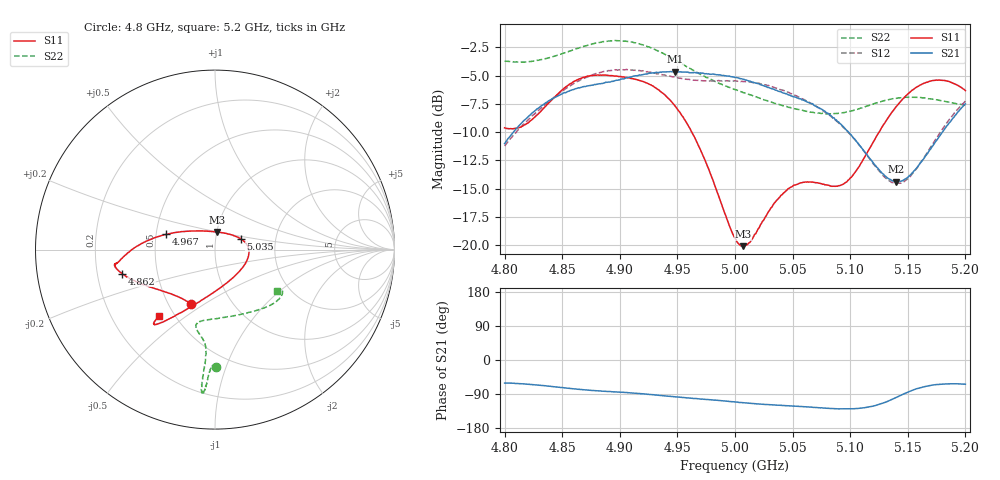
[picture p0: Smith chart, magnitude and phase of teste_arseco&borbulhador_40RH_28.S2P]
! Network Analyzer HP8722D
! Hewlett-Packard
! Data name: Linha & Wilkinson
! Saver's name: Rodrigo Anjos
! Comments: Teste da utilização de aquisição
! continua pelo VNA HP8722D
! Time and date: 15/4/2025 16:35
!  Frequency  S11  S21  S12  S22
# HZ  S  MA R 50
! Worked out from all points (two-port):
!   401 points, 4.8 GHz to 5.2 GHz, reference 50 ohm
!   highest |S21| = -4.63 dB at 4.948 GHz (marker M1); lowest = -14.4 dB at 5.14 GHz (marker M2)
!   |S21| within 3 dB of the highest: 4.832 GHz to 5.069 GHz (236.3 MHz wide, 4.77 % of centre); 5.198564 GHz to end of sweep
!   lowest |S11| = -20.1 dB at 5.007 GHz (marker M3), VSWR 1.22, Z = 50.1 + j9.94 ohm
!   |S11| at or under -10 dB: 4.962 GHz to 5.125 GHz (162.5 MHz wide, 3.22 % of centre)
!   |S22| runs from -8.4 to -1.9 dB; largest |S21 - S12| = 0.88
!   S11 on the Smith chart (normalised r, x): 4.8 GHz: 0.65, -0.44; 4.862 GHz: 0.31, -0.12; 4.967 GHz: 0.57, +0.10; 5.035 GHz: 1.32, +0.16; 5.2 GHz: 0.41, -0.40
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4.8e9  0.3305 -113.7  0.2812 -60.9  0.2747 -175.1  0.6539 -89.4
4.819e9  0.3446 -133.5  0.3641 -63.7  0.3522 -173.2  0.6487 -91.1
4.862e9  0.536 -165.5  0.4929 -76.5  0.527 -176.3  0.7404 -93.5
4.867e9  0.5497 -167.5  0.5011 -78.1  0.5422 -177.2  0.7525 -93.6
4.9e9  0.5573 -172.1  0.5393 -84.9  0.5974 176.0  0.8023 -95.0
4.934e9  0.4856 -178.0  0.5812 -93.3  0.5732 172.0  0.7198 -95.5
4.948e9  0.4126 175.4  0.5865 -97.4  0.5537 172.4  0.6604 -95.1
4.967e9  0.2851 162.6  0.579 -102.0  0.5367 174.1  0.5814 -94.9
5e9  0.1072 107.6  0.5522 -110.9  0.5343 176.3  0.4879 -99.2
5.007e9  0.09881 84.0  0.5422 -112.7  0.5294 176.5  0.4735 -100.8
5.014e9  0.1048 61.7  0.529 -114.6  0.5267 176.3  0.4609 -102.5
5.035e9  0.155 23.1  0.4852 -118.7  0.4964 175.2  0.4233 -103.9
5.05e9  0.1821 7.3  0.4551 -121.3  0.4643 174.6  0.4041 -100.4
5.067e9  0.1902 -10.9  0.4223 -124.5  0.4231 174.1  0.387 -92.0
5.087e9  0.1819 -43.5  0.3587 -128.6  0.3576 173.7  0.3824 -77.0
5.097e9  0.1903 -64.8  0.3218 -129.1  0.3206 174.5  0.3883 -68.6
5.134e9  0.3732 -116.0  0.196 -107.0  0.1922 -159.9  0.4411 -43.4
5.14e9  0.4105 -119.6  0.1908 -98.8  0.1877 -150.5  0.4464 -40.7
5.152e9  0.4757 -124.4  0.2038 -82.4  0.2006 -131.6  0.4513 -36.2
5.17e9  0.5328 -128.5  0.2669 -66.9  0.2722 -112.9  0.444 -32.0
5.184e9  0.5323 -129.8  0.3376 -63.0  0.3483 -107.1  0.4313 -31.0
5.2e9  0.4829 -130.3  0.422 -63.9  0.434 -106.0  0.4153 -33.4
